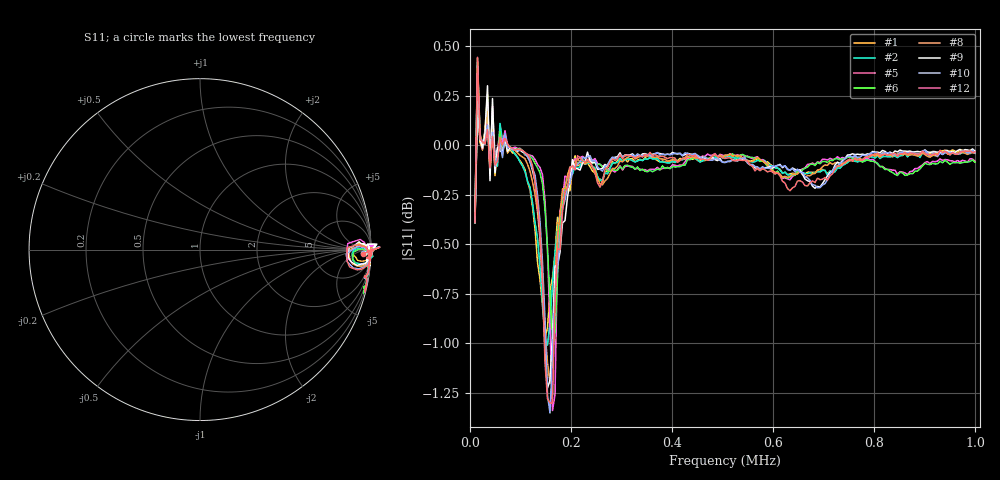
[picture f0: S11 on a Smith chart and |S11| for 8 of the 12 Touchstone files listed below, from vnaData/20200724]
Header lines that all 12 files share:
!Agilent Technologies,E5071C,MY46100305,A.07.02
!Data & Calibration Information:
!Freq	S11:SOLT1(ON)
# Hz S MA R 50
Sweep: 9 kHz to 1 MHz
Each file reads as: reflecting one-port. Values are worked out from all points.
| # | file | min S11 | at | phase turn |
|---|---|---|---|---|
| 1 | XDR1NOMICROCOAX.S1P | -1.0 dB | 147.7 kHz | -4 deg |
| 2 | XDR1WMC.S1P | -1.0 dB | 152.7 kHz | -13 deg |
| 3 | XDR2NOMICROCOAX.S1P | -1.0 dB | 147.7 kHz | -4 deg |
| 4 | XDR2WMC.S1P | -1.0 dB | 152.7 kHz | -13 deg |
| 5 | XDR3NOMICROCOAX.S1P | -1.3 dB | 162.6 kHz | -5 deg |
| 6 | XDR3WMC.S1P | -1.0 dB | 162.6 kHz | -14 deg |
| 7 | XDR4NOMICROCOAX.S1P | -1.3 dB | 152.7 kHz | -4 deg |
| 8 | XDR4WMC.S1P | -1.2 dB | 157.7 kHz | -13 deg |
| 9 | XDR5NOMICROCOAX.S1P | -1.2 dB | 152.7 kHz | -4 deg |
| 10 | XDR5WMC.S1P | -1.4 dB | 157.7 kHz | -13 deg |
| 11 | XDR6NOMICROCOAX.S1P | -1.5 dB | 157.7 kHz | -4 deg |
| 12 | XDR6WMC.S1P | -1.3 dB | 162.6 kHz | -13 deg |
